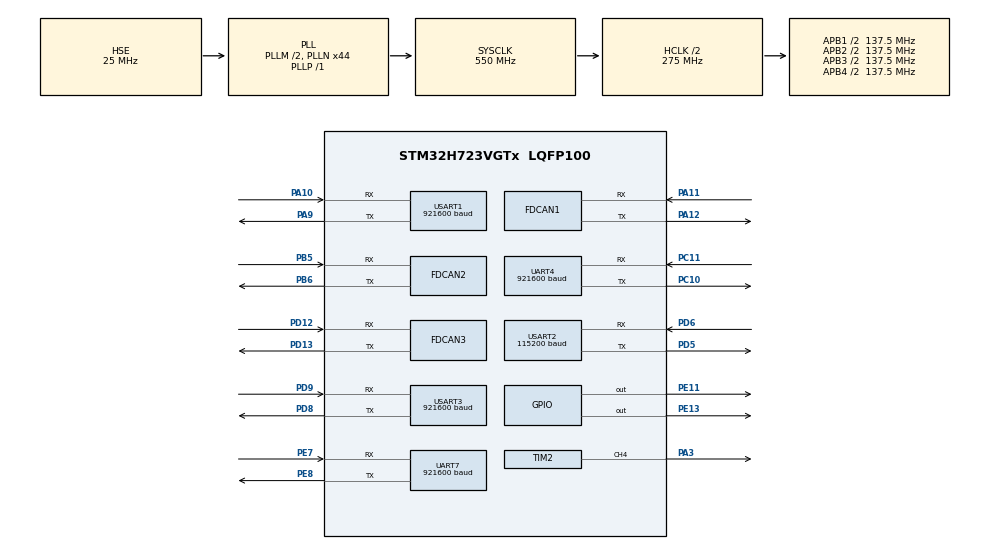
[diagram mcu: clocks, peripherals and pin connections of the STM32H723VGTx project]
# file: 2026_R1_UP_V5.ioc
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CORTEX_M7.default_mode_Activation=1
Dma.Request0=UART4_RX
Dma.Request1=UART4_TX
Dma.Request2=UART7_RX
Dma.Request3=UART7_TX
Dma.Request4=USART1_RX
Dma.Request5=USART1_TX
Dma.Request6=USART2_RX
Dma.Request7=USART2_TX
Dma.Request8=USART3_RX
Dma.Request9=USART3_TX
Dma.UART4_RX.0.Direction=DMA_PERIPH_TO_MEMORY
Dma.UART4_RX.0.EventEnable=DISABLE
Dma.UART4_RX.0.FIFOMode=DMA_FIFOMODE_DISABLE
Dma.UART4_RX.0.Instance=DMA1_Stream0
Dma.UART4_RX.0.MemDataAlignment=DMA_MDATAALIGN_BYTE
Dma.UART4_RX.0.MemInc=DMA_MINC_ENABLE
Dma.UART4_RX.0.Mode=DMA_NORMAL
Dma.UART4_RX.0.PeriphDataAlignment=DMA_PDATAALIGN_BYTE
Dma.UART4_RX.0.PeriphInc=DMA_PINC_DISABLE
Dma.UART4_RX.0.Polarity=HAL_DMAMUX_REQ_GEN_RISING
Dma.UART4_RX.0.Priority=DMA_PRIORITY_LOW
Dma.UART4_RX.0.RequestNumber=1
Dma.UART4_RX.0.SignalID=NONE
Dma.UART4_RX.0.SyncEnable=DISABLE
Dma.UART4_RX.0.SyncPolarity=HAL_DMAMUX_SYNC_NO_EVENT
Dma.UART4_RX.0.SyncRequestNumber=1
Dma.UART4_RX.0.SyncSignalID=NONE
Dma.UART4_TX.1.Direction=DMA_MEMORY_TO_PERIPH
Dma.UART4_TX.1.EventEnable=DISABLE
Dma.UART4_TX.1.FIFOMode=DMA_FIFOMODE_DISABLE
Dma.UART4_TX.1.Instance=DMA1_Stream1
Dma.UART4_TX.1.MemDataAlignment=DMA_MDATAALIGN_BYTE
Dma.UART4_TX.1.MemInc=DMA_MINC_ENABLE
Dma.UART4_TX.1.Mode=DMA_NORMAL
Dma.UART4_TX.1.PeriphDataAlignment=DMA_PDATAALIGN_BYTE
Dma.UART4_TX.1.PeriphInc=DMA_PINC_DISABLE
Dma.UART4_TX.1.Polarity=HAL_DMAMUX_REQ_GEN_RISING
Dma.UART4_TX.1.Priority=DMA_PRIORITY_LOW
Dma.UART4_TX.1.RequestNumber=1
Dma.UART4_TX.1.SignalID=NONE
Dma.UART4_TX.1.SyncEnable=DISABLE
Dma.UART4_TX.1.SyncPolarity=HAL_DMAMUX_SYNC_NO_EVENT
Dma.UART4_TX.1.SyncRequestNumber=1
Dma.UART4_TX.1.SyncSignalID=NONE
Dma.UART7_RX.2.Direction=DMA_PERIPH_TO_MEMORY
Dma.UART7_RX.2.EventEnable=DISABLE
Dma.UART7_RX.2.FIFOMode=DMA_FIFOMODE_DISABLE
Dma.UART7_RX.2.Instance=DMA1_Stream2
Dma.UART7_RX.2.MemDataAlignment=DMA_MDATAALIGN_BYTE
Dma.UART7_RX.2.MemInc=DMA_MINC_ENABLE
Dma.UART7_RX.2.Mode=DMA_NORMAL
Dma.UART7_RX.2.PeriphDataAlignment=DMA_PDATAALIGN_BYTE
Dma.UART7_RX.2.PeriphInc=DMA_PINC_DISABLE
Dma.UART7_RX.2.Polarity=HAL_DMAMUX_REQ_GEN_RISING
Dma.UART7_RX.2.Priority=DMA_PRIORITY_LOW
Dma.UART7_RX.2.RequestNumber=1
Dma.UART7_RX.2.SignalID=NONE
Dma.UART7_RX.2.SyncEnable=DISABLE
Dma.UART7_RX.2.SyncPolarity=HAL_DMAMUX_SYNC_NO_EVENT
Dma.UART7_RX.2.SyncRequestNumber=1
Dma.UART7_RX.2.SyncSignalID=NONE
Dma.UART7_TX.3.Direction=DMA_MEMORY_TO_PERIPH
Dma.UART7_TX.3.EventEnable=DISABLE
Dma.UART7_TX.3.FIFOMode=DMA_FIFOMODE_DISABLE
Dma.UART7_TX.3.Instance=DMA1_Stream3
Dma.UART7_TX.3.MemDataAlignment=DMA_MDATAALIGN_BYTE
Dma.UART7_TX.3.MemInc=DMA_MINC_ENABLE
Dma.UART7_TX.3.Mode=DMA_NORMAL
Dma.UART7_TX.3.PeriphDataAlignment=DMA_PDATAALIGN_BYTE
Dma.UART7_TX.3.PeriphInc=DMA_PINC_DISABLE
Dma.UART7_TX.3.Polarity=HAL_DMAMUX_REQ_GEN_RISING
Dma.UART7_TX.3.Priority=DMA_PRIORITY_LOW
Dma.UART7_TX.3.RequestNumber=1
Dma.UART7_TX.3.SignalID=NONE
Dma.UART7_TX.3.SyncEnable=DISABLE
Dma.UART7_TX.3.SyncPolarity=HAL_DMAMUX_SYNC_NO_EVENT
Dma.UART7_TX.3.SyncRequestNumber=1
Dma.UART7_TX.3.SyncSignalID=NONE
Dma.USART1_RX.4.Direction=DMA_PERIPH_TO_MEMORY
Dma.USART1_RX.4.EventEnable=DISABLE
Dma.USART1_RX.4.FIFOMode=DMA_FIFOMODE_DISABLE
Dma.USART1_RX.4.Instance=DMA1_Stream4
Dma.USART1_RX.4.MemDataAlignment=DMA_MDATAALIGN_BYTE
Dma.USART1_RX.4.MemInc=DMA_MINC_ENABLE
Dma.USART1_RX.4.Mode=DMA_NORMAL
Dma.USART1_RX.4.PeriphDataAlignment=DMA_PDATAALIGN_BYTE
Dma.USART1_RX.4.PeriphInc=DMA_PINC_DISABLE
Dma.USART1_RX.4.Polarity=HAL_DMAMUX_REQ_GEN_RISING
Dma.USART1_RX.4.Priority=DMA_PRIORITY_LOW
Dma.USART1_RX.4.RequestNumber=1
Dma.USART1_RX.4.SignalID=NONE
Dma.USART1_RX.4.SyncEnable=DISABLE
Dma.USART1_RX.4.SyncPolarity=HAL_DMAMUX_SYNC_NO_EVENT
Dma.USART1_RX.4.SyncRequestNumber=1
Dma.USART1_RX.4.SyncSignalID=NONE
Dma.USART1_TX.5.Direction=DMA_MEMORY_TO_PERIPH
Dma.USART1_TX.5.EventEnable=DISABLE
Dma.USART1_TX.5.FIFOMode=DMA_FIFOMODE_DISABLE
Dma.USART1_TX.5.Instance=DMA1_Stream5
Dma.USART1_TX.5.MemDataAlignment=DMA_MDATAALIGN_BYTE
Dma.USART1_TX.5.MemInc=DMA_MINC_ENABLE
Dma.USART1_TX.5.Mode=DMA_NORMAL
Dma.USART1_TX.5.PeriphDataAlignment=DMA_PDATAALIGN_BYTE
Dma.USART1_TX.5.PeriphInc=DMA_PINC_DISABLE
Dma.USART1_TX.5.Polarity=HAL_DMAMUX_REQ_GEN_RISING
Dma.USART1_TX.5.Priority=DMA_PRIORITY_LOW
Dma.USART1_TX.5.RequestNumber=1
Dma.USART1_TX.5.SignalID=NONE
Dma.USART1_TX.5.SyncEnable=DISABLE
Dma.USART1_TX.5.SyncPolarity=HAL_DMAMUX_SYNC_NO_EVENT
Dma.USART1_TX.5.SyncRequestNumber=1
Dma.USART1_TX.5.SyncSignalID=NONE
Dma.USART2_RX.6.Direction=DMA_PERIPH_TO_MEMORY
Dma.USART2_RX.6.EventEnable=DISABLE
Dma.USART2_RX.6.FIFOMode=DMA_FIFOMODE_DISABLE
Dma.USART2_RX.6.Instance=DMA1_Stream6
Dma.USART2_RX.6.MemDataAlignment=DMA_MDATAALIGN_BYTE
Dma.USART2_RX.6.MemInc=DMA_MINC_ENABLE
Dma.USART2_RX.6.Mode=DMA_NORMAL
Dma.USART2_RX.6.PeriphDataAlignment=DMA_PDATAALIGN_BYTE
Dma.USART2_RX.6.PeriphInc=DMA_PINC_DISABLE
Dma.USART2_RX.6.Polarity=HAL_DMAMUX_REQ_GEN_RISING
Dma.USART2_RX.6.Priority=DMA_PRIORITY_LOW
Dma.USART2_RX.6.RequestNumber=1
Dma.USART2_RX.6.SignalID=NONE
Dma.USART2_RX.6.SyncEnable=DISABLE
Dma.USART2_RX.6.SyncPolarity=HAL_DMAMUX_SYNC_NO_EVENT
Dma.USART2_RX.6.SyncRequestNumber=1
Dma.USART2_RX.6.SyncSignalID=NONE
Dma.USART2_TX.7.Direction=DMA_MEMORY_TO_PERIPH
Dma.USART2_TX.7.EventEnable=DISABLE
Dma.USART2_TX.7.FIFOMode=DMA_FIFOMODE_DISABLE
Dma.USART2_TX.7.Instance=DMA1_Stream7
Dma.USART2_TX.7.MemDataAlignment=DMA_MDATAALIGN_BYTE
Dma.USART2_TX.7.MemInc=DMA_MINC_ENABLE
Dma.USART2_TX.7.Mode=DMA_NORMAL
Dma.USART2_TX.7.PeriphDataAlignment=DMA_PDATAALIGN_BYTE
Dma.USART2_TX.7.PeriphInc=DMA_PINC_DISABLE
Dma.USART2_TX.7.Polarity=HAL_DMAMUX_REQ_GEN_RISING
Dma.USART2_TX.7.Priority=DMA_PRIORITY_LOW
Dma.USART2_TX.7.RequestNumber=1
Dma.USART2_TX.7.SignalID=NONE
Dma.USART2_TX.7.SyncEnable=DISABLE
Dma.USART2_TX.7.SyncPolarity=HAL_DMAMUX_SYNC_NO_EVENT
Dma.USART2_TX.7.SyncRequestNumber=1
Dma.USART2_TX.7.SyncSignalID=NONE
Dma.USART3_RX.8.Direction=DMA_PERIPH_TO_MEMORY
Dma.USART3_RX.8.EventEnable=DISABLE
Dma.USART3_RX.8.FIFOMode=DMA_FIFOMODE_DISABLE
Dma.USART3_RX.8.Instance=DMA2_Stream0
Dma.USART3_RX.8.MemDataAlignment=DMA_MDATAALIGN_BYTE
Dma.USART3_RX.8.MemInc=DMA_MINC_ENABLE
Dma.USART3_RX.8.Mode=DMA_NORMAL
Dma.USART3_RX.8.PeriphDataAlignment=DMA_PDATAALIGN_BYTE
Dma.USART3_RX.8.PeriphInc=DMA_PINC_DISABLE
Dma.USART3_RX.8.Polarity=HAL_DMAMUX_REQ_GEN_RISING
Dma.USART3_RX.8.Priority=DMA_PRIORITY_LOW
Dma.USART3_RX.8.RequestNumber=1
Dma.USART3_RX.8.SignalID=NONE
Dma.USART3_RX.8.SyncEnable=DISABLE
Dma.USART3_RX.8.SyncPolarity=HAL_DMAMUX_SYNC_NO_EVENT
Dma.USART3_RX.8.SyncRequestNumber=1
Dma.USART3_RX.8.SyncSignalID=NONE
Dma.USART3_TX.9.Direction=DMA_MEMORY_TO_PERIPH
Dma.USART3_TX.9.EventEnable=DISABLE
Dma.USART3_TX.9.FIFOMode=DMA_FIFOMODE_DISABLE
Dma.USART3_TX.9.Instance=DMA2_Stream1
Dma.USART3_TX.9.MemDataAlignment=DMA_MDATAALIGN_BYTE
Dma.USART3_TX.9.MemInc=DMA_MINC_ENABLE
Dma.USART3_TX.9.Mode=DMA_NORMAL
Dma.USART3_TX.9.PeriphDataAlignment=DMA_PDATAALIGN_BYTE
Dma.USART3_TX.9.PeriphInc=DMA_PINC_DISABLE
Dma.USART3_TX.9.Polarity=HAL_DMAMUX_REQ_GEN_RISING
Dma.USART3_TX.9.Priority=DMA_PRIORITY_LOW
Dma.USART3_TX.9.RequestNumber=1
Dma.USART3_TX.9.SignalID=NONE
Dma.USART3_TX.9.SyncEnable=DISABLE
Dma.USART3_TX.9.SyncPolarity=HAL_DMAMUX_SYNC_NO_EVENT
Dma.USART3_TX.9.SyncRequestNumber=1
Dma.USART3_TX.9.SyncSignalID=NONE
FDCAN1.AutoRetransmission=ENABLE
FDCAN1.CalculateBaudRateNominal=1000000
FDCAN1.CalculateTimeBitNominal=1000
FDCAN1.CalculateTimeQuantumNominal=40.0
FDCAN1.DataSyncJumpWidth=6
FDCAN1.DataTimeSeg1=18
FDCAN1.DataTimeSeg2=6
FDCAN1.Mode=FDCAN_MODE_NORMAL
FDCAN1.NominalPrescaler=1
FDCAN1.NominalSyncJumpWidth=6
FDCAN1.NominalTimeSeg1=18
FDCAN1.NominalTimeSeg2=6
FDCAN1.RxFifo0ElmtsNbr=4
FDCAN1.StdFiltersNbr=1
FDCAN1.TxBuffersNbr=16
FDCAN1.TxFifoQueueElmtsNbr=16
FDCAN2.AutoRetransmission=ENABLE
FDCAN2.CalculateBaudRateNominal=1000000
FDCAN2.CalculateTimeBitNominal=1000
FDCAN2.CalculateTimeQuantumNominal=40.0
FDCAN2.DataSyncJumpWidth=6
FDCAN2.DataTimeSeg1=18
FDCAN2.DataTimeSeg2=6
FDCAN2.MessageRAMOffset=800
FDCAN2.Mode=FDCAN_MODE_NORMAL
FDCAN2.NominalPrescaler=1
FDCAN2.NominalSyncJumpWidth=6
FDCAN2.NominalTimeSeg1=18
FDCAN2.NominalTimeSeg2=6
FDCAN2.RxFifo0ElmtsNbr=4
FDCAN2.StdFiltersNbr=1
FDCAN2.TxBuffersNbr=16
FDCAN2.TxFifoQueueElmtsNbr=16
FDCAN3.AutoRetransmission=ENABLE
FDCAN3.CalculateBaudRateNominal=1000000
FDCAN3.CalculateTimeBitNominal=1000
FDCAN3.CalculateTimeQuantumNominal=40.0
FDCAN3.DataSyncJumpWidth=6
FDCAN3.DataTimeSeg1=18
FDCAN3.DataTimeSeg2=6
FDCAN3.MessageRAMOffset=1600
FDCAN3.NominalPrescaler=1
FDCAN3.NominalSyncJumpWidth=6
FDCAN3.NominalTimeSeg1=18
FDCAN3.NominalTimeSeg2=6
FDCAN3.RxFifo0ElmtsNbr=4
FDCAN3.StdFiltersNbr=1
FDCAN3.TxBuffersNbr=16
FDCAN3.TxFifoQueueElmtsNbr=16
FREERTOS.Tasks01=UpAction,24,1024,up_action,Default,NULL,Dynamic,NULL,NULL;USART_TRANS,8,1024,usartTransmit,Default,NULL,Dynamic,NULL,NULL;CAN_TRANS1,8,512,canTrans1,Default,NULL,Dynamic,NULL,NULL;CAN_TRANS2,8,512,canTrans2,Default,NULL,Dynamic,NULL,NULL;ALGORITHM,8,1024,algorithm,Default,NULL,Dynamic,NULL,NULL;STATE_MACHINE,8,512,stateMachine,Default,NULL,Dynamic,NULL,NULL
FREERTOS.configTOTAL_HEAP_SIZE=23040
Mcu.Family=STM32H7
Mcu.Name=STM32H723VGTx
Mcu.Package=LQFP100
NVIC.DMA1_Stream0_IRQn=true\:5\:0\:false\:false\:true\:true\:false\:true\:true
NVIC.DMA1_Stream1_IRQn=true\:5\:0\:false\:false\:true\:true\:false\:true\:true
NVIC.DMA1_Stream2_IRQn=true\:5\:0\:false\:false\:true\:true\:false\:true\:true
NVIC.DMA1_Stream3_IRQn=true\:5\:0\:false\:false\:true\:true\:false\:true\:true
NVIC.DMA1_Stream4_IRQn=true\:5\:0\:false\:false\:true\:true\:false\:true\:true
NVIC.DMA1_Stream5_IRQn=true\:5\:0\:false\:false\:true\:true\:false\:true\:true
NVIC.DMA1_Stream6_IRQn=true\:5\:0\:false\:false\:true\:true\:false\:true\:true
NVIC.DMA1_Stream7_IRQn=true\:5\:0\:false\:false\:true\:true\:false\:true\:true
NVIC.DMA2_Stream0_IRQn=true\:5\:0\:false\:false\:true\:true\:false\:true\:true
NVIC.DMA2_Stream1_IRQn=true\:5\:0\:false\:false\:true\:true\:false\:true\:true
NVIC.FDCAN1_IT0_IRQn=true\:5\:0\:false\:false\:true\:true\:true\:true\:true
NVIC.FDCAN2_IT0_IRQn=true\:5\:0\:false\:false\:true\:true\:true\:true\:true
NVIC.FDCAN3_IT0_IRQn=true\:5\:0\:false\:false\:true\:true\:true\:true\:true
NVIC.PriorityGroup=NVIC_PRIORITYGROUP_4
NVIC.TIM6_DAC_IRQn=true\:15\:0\:false\:false\:true\:false\:false\:true\:true
NVIC.TIM7_IRQn=true\:5\:0\:false\:false\:true\:true\:true\:true\:true
NVIC.TimeBase=TIM6_DAC_IRQn
NVIC.TimeBaseIP=TIM6
NVIC.UART4_IRQn=true\:5\:0\:false\:false\:true\:true\:true\:true\:true
NVIC.UART7_IRQn=true\:5\:0\:false\:false\:true\:true\:true\:true\:true
NVIC.USART1_IRQn=true\:5\:0\:false\:false\:true\:true\:true\:true\:true
NVIC.USART2_IRQn=true\:5\:0\:false\:false\:true\:true\:false\:true\:true
NVIC.USART3_IRQn=true\:5\:0\:false\:false\:true\:true\:true\:true\:true
PA10.GPIO_PuPd=GPIO_PULLUP
PA10.Mode=Asynchronous
PA10.Signal=USART1_RX
PA11.Mode=FDCAN_Activate
PA11.Signal=FDCAN1_RX
PA12.Mode=FDCAN_Activate
PA12.Signal=FDCAN1_TX
PA13(JTMS/SWDIO).Mode=Serial_Wire
PA13(JTMS/SWDIO).Signal=DEBUG_JTMS-SWDIO
PA14(JTCK/SWCLK).Mode=Serial_Wire
PA14(JTCK/SWCLK).Signal=DEBUG_JTCK-SWCLK
PA3.GPIO_PuPd=GPIO_PULLUP
PA3.GPIO_Speed=GPIO_SPEED_FREQ_VERY_HIGH
PA3.Signal=S_TIM2_CH4
PA9.GPIO_PuPd=GPIO_PULLUP
PA9.Mode=Asynchronous
PA9.Signal=USART1_TX
PB5.Mode=FDCAN_Activate
PB5.Signal=FDCAN2_RX
PB6.Mode=FDCAN_Activate
PB6.Signal=FDCAN2_TX
PC10.Mode=Asynchronous
PC10.Signal=UART4_TX
PC11.Mode=Asynchronous
PC11.Signal=UART4_RX
PC6.Signal=USART6_TX
PC7.Signal=USART6_RX
PD12.Mode=FDCAN_Activate
PD12.Signal=FDCAN3_RX
PD13.Mode=FDCAN_Activate
PD13.Signal=FDCAN3_TX
PD5.Mode=Asynchronous
PD5.Signal=USART2_TX
PD6.Mode=Asynchronous
PD6.Signal=USART2_RX
PD8.GPIO_PuPd=GPIO_PULLUP
PD8.Mode=Asynchronous
PD8.Signal=USART3_TX
PD9.GPIO_PuPd=GPIO_PULLUP
PD9.Mode=Asynchronous
PD9.Signal=USART3_RX
PE11.Signal=GPIO_Output
PE13.Signal=GPIO_Output
PE7.GPIO_PuPd=GPIO_PULLUP
PE7.Mode=Asynchronous
PE7.Signal=UART7_RX
PE8.GPIO_PuPd=GPIO_PULLUP
PE8.Mode=Asynchronous
PE8.Signal=UART7_TX
PH0-OSC_IN.Mode=HSE-External-Oscillator
PH0-OSC_IN.Signal=RCC_OSC_IN
PH1-OSC_OUT.Mode=HSE-External-Oscillator
PH1-OSC_OUT.Signal=RCC_OSC_OUT
ProjectManager.HeapSize=0x200
ProjectManager.StackSize=0x400
ProjectManager.TargetToolchain=MDK-ARM V5.32
RCC.ADCFreq_Value=50390625
RCC.APB1Freq_Value=137500000
RCC.APB2Freq_Value=137500000
RCC.APB3Freq_Value=137500000
RCC.APB4Freq_Value=137500000
RCC.CortexFreq_Value=550000000
RCC.D1PPRE=RCC_APB3_DIV2
RCC.D2PPRE1=RCC_APB1_DIV2
RCC.D2PPRE2=RCC_APB2_DIV2
RCC.D3PPRE=RCC_APB4_DIV2
RCC.DIVM1=2
RCC.DIVN1=44
RCC.DIVP1=1
RCC.DIVQ1=4
RCC.FDCANCLockSelection=RCC_FDCANCLKSOURCE_HSE
RCC.HCLKFreq_Value=275000000
RCC.HPRE=RCC_HCLK_DIV2
RCC.PLLFRACN=0
RCC.PLLSourceVirtual=RCC_PLLSOURCE_HSE
RCC.SYSCLKFreq_VALUE=550000000
RCC.SYSCLKSource=RCC_SYSCLKSOURCE_PLLCLK
RCC.USBFreq_Value=137500000
SH.S_TIM2_CH4.0=TIM2_CH4,PWM Generation4 CH4
TIM1.AutoReloadPreload=TIM_AUTORELOAD_PRELOAD_ENABLE
TIM1.Period=199
TIM1.Prescaler=13749
TIM2.AutoReloadPreload=TIM_AUTORELOAD_PRELOAD_ENABLE
TIM2.Channel-PWM\ Generation4\ CH4=TIM_CHANNEL_4
TIM2.Period=199
TIM2.Prescaler=13749
TIM7.Period=13749
TIM7.Prescaler=9999
UART4.BaudRate=921600
UART7.BaudRate=921600
USART1.BaudRate=921600
USART1.VirtualMode-Asynchronous=VM_ASYNC
USART2.BaudRate=115200
USART2.VirtualMode-Asynchronous=VM_ASYNC
USART3.BaudRate=921600
USART3.VirtualMode-Asynchronous=VM_ASYNC
VP_FREERTOS_VS_CMSIS_V2.Mode=CMSIS_V2
VP_MEMORYMAP_VS_MEMORYMAP.Mode=CurAppReg
VP_SYS_VS_tim6.Mode=TIM6
VP_TIM1_VS_ClockSourceINT.Mode=Internal
VP_TIM2_VS_ClockSourceINT.Mode=Internal
VP_TIM7_VS_ClockSourceINT.Mode=Enable_Timer
board=custom

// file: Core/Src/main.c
/* USER CODE BEGIN Header */
/**
  ******************************************************************************
  * @file           : main.c
  * @brief          : Main program body
  ******************************************************************************
  * @attention
  *
  * Copyright (c) 2026 STMicroelectronics.
  * All rights reserved.
  *
  * This software is licensed under terms that can be found in the LICENSE file
  * in the root directory of this software component.
  * If no LICENSE file comes with this software, it is provided AS-IS.
  *
  ******************************************************************************
  */
/* USER CODE END Header */
#include "main.h"
#include "cmsis_os.h"
#include "dma.h"
#include "fdcan.h"
#include "memorymap.h"
#include "tim.h"
#include "usart.h"
#include "gpio.h"

/* USER CODE BEGIN Includes */
#include "CAN_Bsp.h"
#include "USART_Bsp.h"
#include "J60_motor.h"
#include "tjc_usart_hmi.h"
/* USER CODE END Includes */

void SystemClock_Config(void);
static void MPU_Config(void);
void MX_FREERTOS_Init(void);

/* USER CODE BEGIN 0 */
u8 zhu=0;
u8 board_rec[20]={0},remote_rec[11]={0},test_rec[9]={0};
void HAL_UART_RxCpltCallback(UART_HandleTypeDef *huart)
{
    if (huart->Instance == USART1) {
			size_t size = 24;
			for(uint8_t i = 0;i<size;i++){
				if(usart1_rxbuf[i] == 0x66&&usart1_rxbuf[(i+size-1)%size] == 0x99){
					memcpy(&vision_rec,&usart1_rxbuf[i],size - i);
					memcpy(&vision_rec[size-i],&usart1_rxbuf,i);

					break;
				}
			}
      unpackVisionData(vision_rec);
			HAL_UART_Receive_DMA(&huart1, usart1_rxbuf, 24);
			systemMonitor.cntMonitor.visionCommunicate++;
    }
		else if(huart->Instance == USART2){
			size_t size = 9;
			for(uint8_t i = 0;i<size;i++){
				if(IRModuleRxBuffer[i] == 0xAA&&IRModuleRxBuffer[(i+size-1)%size] == 0xAA){
					memcpy(&test_rec,&IRModuleRxBuffer[i],size - i);
					memcpy(&test_rec[size-i],&IRModuleRxBuffer,i);
					break;
				}
			}
			HAL_UART_Receive_DMA(&huart2,IRModuleRxBuffer,9);
		}
		else if(huart->Instance == USART3){
//			size_t size = 13;
//			for(uint8_t i = 0;i<size;i++){
//				if(usart2_rxbuf[i] == 0xAA&&usart2_rxbuf[(i+size-1)%size] == 0xAA){
//					memcpy(&remote_rec,&usart2_rxbuf[i],size - i);
//					memcpy(&remote_rec[size-i],&usart2_rxbuf,i);
//
//					break;
//				}
//			}
//			parseDataPacket(remote_rec+2,&remoteRec);
//			CalculateVelocities(&remoteRec,&remote_vel,800,1800,800,1800,1600,200);
//			DealKeyOfficial(remoteRec.usJsKey);
//				HAL_UART_Receive_IT(&huart3, usart2_rxbuf, 13);
//			if(usart2_rxbuf[0]==0xAA && usart2_rxbuf[1]==0x55 && usart2_rxbuf[11]==0x55 && usart2_rxbuf[12]==0xAA)
//			{
//				parseDataPacket(usart2_rxbuf+2,&remoteRec);
//				CalculateVelocities(&remoteRec,&remote_vel,800,1800,800,1800,1600,200);
//				DealKey(remoteRec.usJsKey);
//
//				return;
//			}
//			HAL_UART_Receive_IT(&huart3, usart2_rxbuf, 13);
			size_t size = 11;
			for(uint8_t i = 0;i<size;i++){
				if(usart2_rxbuf[i] == 0xAA&&usart2_rxbuf[(i+size-1)%size] == 0xBB){
					memcpy(&remote_rec,&usart2_rxbuf[i],size - i);
					memcpy(&remote_rec[size-i],&usart2_rxbuf,i);
					break;
				}
			}
			parseDataPacket(remote_rec+1,&remoteRec);
			CalculateVelocities(&remoteRec,&remote_vel,500,1750,500,1750,500,100);
			DealKeyTemp(remoteRec.usJsKey);
			HAL_UART_Receive_DMA(&huart3, usart2_rxbuf, 11);
			systemMonitor.cntMonitor.remoteControl++;
		}
		else if(huart->Instance == UART4)
		{
			size_t size = 18;
			for(uint8_t i = 0;i<size;i++){
				if(uart4_rxbuf[i] == 0x0b&&uart4_rxbuf[(i+size-1)%size] == 0x0a){
					memcpy(&board_rec,&uart4_rxbuf[i],size - i);
					memcpy(&board_rec[size-i],&uart4_rxbuf,i);

					break;
				}
			}
			unpackDataFromLower(board_rec);
			HAL_UART_Receive_DMA(&huart4, uart4_rxbuf, 18);
			systemMonitor.cntMonitor.withinBoardCommunicate++;
		}
}
void HAL_UART_ErrorCallback(UART_HandleTypeDef *huart)
{
    if (huart->Instance == USART1) {

        HAL_UART_DMAStop(huart);

        __HAL_UART_CLEAR_OREFLAG(huart);
        __HAL_UART_CLEAR_NEFLAG(huart);
        __HAL_UART_CLEAR_FEFLAG(huart);

        HAL_UART_Receive_DMA(&huart1, usart1_rxbuf, 24);
    }else if (huart->Instance == USART3) {

        HAL_UART_DMAStop(huart);

        __HAL_UART_CLEAR_OREFLAG(huart);
        __HAL_UART_CLEAR_NEFLAG(huart);
        __HAL_UART_CLEAR_FEFLAG(huart);

        	HAL_UART_Receive_DMA(&huart3, usart2_rxbuf, 11);
    }
		else if (huart->Instance == UART4) {

        HAL_UART_DMAStop(huart);

        __HAL_UART_CLEAR_OREFLAG(huart);
        __HAL_UART_CLEAR_NEFLAG(huart);
        __HAL_UART_CLEAR_FEFLAG(huart);

        	HAL_UART_Receive_DMA(&huart4, uart4_rxbuf, 20);
    }
}

/* USER CODE END 0 */

int main(void)
{

  /* MPU Configuration--------------------------------------------------------*/
  MPU_Config();

  /* MCU Configuration--------------------------------------------------------*/

  /* Reset of all peripherals, Initializes the Flash interface and the Systick. */
  HAL_Init();

  /* Configure the system clock */
  SystemClock_Config();

  /* Initialize all configured peripherals */
  MX_GPIO_Init();
  MX_DMA_Init();
  MX_FDCAN1_Init();
  MX_FDCAN2_Init();
  MX_FDCAN3_Init();
  MX_UART4_Init();
  MX_UART7_Init();
  MX_USART1_UART_Init();
  MX_USART2_UART_Init();
  MX_TIM1_Init();
  MX_USART3_UART_Init();
  MX_TIM2_Init();
  MX_TIM7_Init();
  /* USER CODE BEGIN 2 */

	HAL_UART_Receive_DMA(&huart4,uart4_rxbuf,18);
	HAL_UART_Receive_DMA(&huart1,usart1_rxbuf,24);
	HAL_UART_Receive_DMA(&huart2,IRModuleRxBuffer,9);
	HAL_UART_Receive_DMA(&huart3, usart2_rxbuf, 11);
	HAL_TIM_Base_Start_IT(&htim7);
	initRingBuffer();                //
//	HAL_UART_Receive_IT(&huart2,&zhu,1);

	CAN_INIT();
	Deep_Init(&gimbalJ60,&gimbalJ60CMD,&hfdcan1);
	Deep_Init(&shoulderJ60,&shoulderJ60CMD,&hfdcan2);
	Deep_Init(&elbowJ60,&elbowJ60CMD,&hfdcan2);

	HAL_Delay(700);
  /* USER CODE END 2 */

  /* Init scheduler */
  osKernelInitialize();

  /* Call init function for freertos objects (in cmsis_os2.c) */
  MX_FREERTOS_Init();

  /* Start scheduler */
  osKernelStart();

  /* We should never get here as control is now taken by the scheduler */

  /* Infinite loop */
  while (1)
  {

  }
}

void SystemClock_Config(void)
{
  RCC_OscInitTypeDef RCC_OscInitStruct = {0};
  RCC_ClkInitTypeDef RCC_ClkInitStruct = {0};

  /** Supply configuration update enable
  */
  HAL_PWREx_ConfigSupply(PWR_LDO_SUPPLY);

  /** Configure the main internal regulator output voltage
  */
  __HAL_PWR_VOLTAGESCALING_CONFIG(PWR_REGULATOR_VOLTAGE_SCALE0);

  while(!__HAL_PWR_GET_FLAG(PWR_FLAG_VOSRDY)) {}

  /** Initializes the RCC Oscillators according to the specified parameters
  * in the RCC_OscInitTypeDef structure.
  */
  RCC_OscInitStruct.OscillatorType = RCC_OSCILLATORTYPE_HSE;
  RCC_OscInitStruct.HSEState = RCC_HSE_ON;
  RCC_OscInitStruct.PLL.PLLState = RCC_PLL_ON;
  RCC_OscInitStruct.PLL.PLLSource = RCC_PLLSOURCE_HSE;
  RCC_OscInitStruct.PLL.PLLM = 2;
  RCC_OscInitStruct.PLL.PLLN = 44;
  RCC_OscInitStruct.PLL.PLLP = 1;
  RCC_OscInitStruct.PLL.PLLQ = 4;
  RCC_OscInitStruct.PLL.PLLR = 2;
  RCC_OscInitStruct.PLL.PLLRGE = RCC_PLL1VCIRANGE_3;
  RCC_OscInitStruct.PLL.PLLVCOSEL = RCC_PLL1VCOWIDE;
  RCC_OscInitStruct.PLL.PLLFRACN = 0;
  if (HAL_RCC_OscConfig(&RCC_OscInitStruct) != HAL_OK)
  {
    Error_Handler();
  }

  /** Initializes the CPU, AHB and APB buses clocks
  */
  RCC_ClkInitStruct.ClockType = RCC_CLOCKTYPE_HCLK|RCC_CLOCKTYPE_SYSCLK
                              |RCC_CLOCKTYPE_PCLK1|RCC_CLOCKTYPE_PCLK2
                              |RCC_CLOCKTYPE_D3PCLK1|RCC_CLOCKTYPE_D1PCLK1;
  RCC_ClkInitStruct.SYSCLKSource = RCC_SYSCLKSOURCE_PLLCLK;
  RCC_ClkInitStruct.SYSCLKDivider = RCC_SYSCLK_DIV1;
  RCC_ClkInitStruct.AHBCLKDivider = RCC_HCLK_DIV2;
  RCC_ClkInitStruct.APB3CLKDivider = RCC_APB3_DIV2;
  RCC_ClkInitStruct.APB1CLKDivider = RCC_APB1_DIV2;
  RCC_ClkInitStruct.APB2CLKDivider = RCC_APB2_DIV2;
  RCC_ClkInitStruct.APB4CLKDivider = RCC_APB4_DIV2;

  if (HAL_RCC_ClockConfig(&RCC_ClkInitStruct, FLASH_LATENCY_3) != HAL_OK)
  {
    Error_Handler();
  }
}

 /* MPU Configuration */

void MPU_Config(void)
{
  MPU_Region_InitTypeDef MPU_InitStruct = {0};

  /* Disables the MPU */
  HAL_MPU_Disable();

  /** Initializes and configures the Region and the memory to be protected
  */
  MPU_InitStruct.Enable = MPU_REGION_ENABLE;
  MPU_InitStruct.Number = MPU_REGION_NUMBER0;
  MPU_InitStruct.BaseAddress = 0x0;
  MPU_InitStruct.Size = MPU_REGION_SIZE_4GB;
  MPU_InitStruct.SubRegionDisable = 0x87;
  MPU_InitStruct.TypeExtField = MPU_TEX_LEVEL0;
  MPU_InitStruct.AccessPermission = MPU_REGION_NO_ACCESS;
  MPU_InitStruct.DisableExec = MPU_INSTRUCTION_ACCESS_DISABLE;
  MPU_InitStruct.IsShareable = MPU_ACCESS_SHAREABLE;
  MPU_InitStruct.IsCacheable = MPU_ACCESS_NOT_CACHEABLE;
  MPU_InitStruct.IsBufferable = MPU_ACCESS_NOT_BUFFERABLE;

  HAL_MPU_ConfigRegion(&MPU_InitStruct);
  /* Enables the MPU */
  HAL_MPU_Enable(MPU_PRIVILEGED_DEFAULT);

}

void HAL_TIM_PeriodElapsedCallback(TIM_HandleTypeDef *htim)
{
  if (htim->Instance == TIM6)
  {
    HAL_IncTick();
  }
  /* USER CODE BEGIN Callback 1 */
	// �ж��Ƿ���TIM7�������ж�
  if (htim->Instance == TIM7)
  {
			SINGLE_MONITOR temp={0};
    memcpy(&systemMonitor.fpsMonitor,&systemMonitor.cntMonitor,sizeof(SINGLE_MONITOR));
		memcpy(&systemMonitor.cntMonitor,&temp,sizeof(SINGLE_MONITOR));
		const u16* ptr = (u16*) &systemMonitor.fpsMonitor;
		for(u8 i =0;i<19;i++){
			systemMonitor.error[i]=(ptr[i]>100);
		}
  }
  /* USER CODE END Callback 1 */
}

void Error_Handler(void)
{
  __disable_irq();
  while (1)
  {
  }
}

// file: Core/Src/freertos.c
/* USER CODE BEGIN Header */
/**
  ******************************************************************************
  * File Name          : freertos.c
  * Description        : Code for freertos applications
  ******************************************************************************
  * @attention
  *
  * Copyright (c) 2026 STMicroelectronics.
  * All rights reserved.
  *
  * This software is licensed under terms that can be found in the LICENSE file
  * in the root directory of this software component.
  * If no LICENSE file comes with this software, it is provided AS-IS.
  *
  ******************************************************************************
  */
/* USER CODE END Header */

#include "FreeRTOS.h"
#include "task.h"
#include "main.h"
#include "cmsis_os.h"

/* USER CODE BEGIN Includes */
#include "Robot.h"
#include "CAN_Bsp.h"
#include "USART_Bsp.h"
#include "J60_motor.h"
#include "DJI_motor.h"
#include "MathAlgorithm.h"
#include "usart.h"
#include "StateMachine.h"
#include "UpAction.h"
#include "GravityCompensation.h"
#include "tim.h"
#include "stm32h723xx.h"
#include "tjc_usart_hmi.h"
/* USER CODE END Includes */

/* USER CODE BEGIN PD */
#define TJC 1
//#define IRM 1
/* USER CODE END PD */

/* Definitions for UpAction */
osThreadId_t UpActionHandle;
const osThreadAttr_t UpAction_attributes = {
  .name = "UpAction",
  .stack_size = 1024 * 4,
  .priority = (osPriority_t) osPriorityNormal,
};
/* Definitions for USART_TRANS */
osThreadId_t USART_TRANSHandle;
const osThreadAttr_t USART_TRANS_attributes = {
  .name = "USART_TRANS",
  .stack_size = 1024 * 4,
  .priority = (osPriority_t) osPriorityLow,
};
/* Definitions for CAN_TRANS1 */
osThreadId_t CAN_TRANS1Handle;
const osThreadAttr_t CAN_TRANS1_attributes = {
  .name = "CAN_TRANS1",
  .stack_size = 512 * 4,
  .priority = (osPriority_t) osPriorityLow,
};
/* Definitions for CAN_TRANS2 */
osThreadId_t CAN_TRANS2Handle;
const osThreadAttr_t CAN_TRANS2_attributes = {
  .name = "CAN_TRANS2",
  .stack_size = 512 * 4,
  .priority = (osPriority_t) osPriorityLow,
};
/* Definitions for ALGORITHM */
osThreadId_t ALGORITHMHandle;
const osThreadAttr_t ALGORITHM_attributes = {
  .name = "ALGORITHM",
  .stack_size = 1024 * 4,
  .priority = (osPriority_t) osPriorityLow,
};
/* Definitions for STATE_MACHINE */
osThreadId_t STATE_MACHINEHandle;
const osThreadAttr_t STATE_MACHINE_attributes = {
  .name = "STATE_MACHINE",
  .stack_size = 512 * 4,
  .priority = (osPriority_t) osPriorityLow,
};

void up_action(void *argument);
void usartTransmit(void *argument);
void canTrans1(void *argument);
void canTrans2(void *argument);
void algorithm(void *argument);
void stateMachine(void *argument);

void MX_FREERTOS_Init(void); /* (MISRA C 2004 rule 8.1) */

void MX_FREERTOS_Init(void) {

  /* Create the thread(s) */
  /* creation of UpAction */
  UpActionHandle = osThreadNew(up_action, NULL, &UpAction_attributes);

  /* creation of USART_TRANS */
  USART_TRANSHandle = osThreadNew(usartTransmit, NULL, &USART_TRANS_attributes);

  /* creation of CAN_TRANS1 */
  CAN_TRANS1Handle = osThreadNew(canTrans1, NULL, &CAN_TRANS1_attributes);

  /* creation of CAN_TRANS2 */
  CAN_TRANS2Handle = osThreadNew(canTrans2, NULL, &CAN_TRANS2_attributes);

  /* creation of ALGORITHM */
  ALGORITHMHandle = osThreadNew(algorithm, NULL, &ALGORITHM_attributes);

  /* creation of STATE_MACHINE */
  STATE_MACHINEHandle = osThreadNew(stateMachine, NULL, &STATE_MACHINE_attributes);

}

void up_action(void *argument)
{
  /* USER CODE BEGIN up_action */
	get_KFS_height=3;
  /* Infinite loop */
  for(;;)
  {
		UpAction_weapon();
		UpAction_KFS();
		UpAction_platform();
		systemMonitor.cntMonitor.UpActionTask++;
    osDelay(1);
  }
  /* USER CODE END up_action */
}

/* USER CODE BEGIN Header_usartTransmit */
u8 uart4_txCplt=1,usart1_txCplt=1,usart3_txCplt=1;
u16 tjc_cnt=0;
void HAL_UART_TxCpltCallback(UART_HandleTypeDef *huart)
{
		if(huart->Instance== UART4){
				uart4_txCplt=1;
		}
    if (huart->Instance == USART1)
    {
        usart1_txCplt = 1;
    }
		if(huart->Instance == USART3){
				usart3_txCplt=1;
		}
}
/**
* @brief Function implementing the USART_TRANS thread.
* @param argument: Not used
* @retval None
*/
u8 buffer[9]={0};
/* USER CODE END Header_usartTransmit */
void usartTransmit(void *argument)
{
  /* USER CODE BEGIN usartTransmit */
	u8 ack[32]={0};
  /* Infinite loop */
  for(;;)
  {
		packDataToLower(uart4_txbuf);
		if(uart4_txCplt){
			HAL_UART_Transmit_DMA(&huart4,uart4_txbuf,23);
			uart4_txCplt=0;
		}
//		packVisionData(usart1_txbuf);
//		if(usart1_txCplt){
//			HAL_UART_Transmit_DMA(&huart1,usart1_txbuf,3);
//			usart1_txCplt=0;
//		}
		packRemoteData(usart2_txbuf);
		memcpy(ack,usart2_txbuf,20*sizeof(uint8_t));
		if(usart3_txCplt){
			HAL_UART_Transmit_DMA(&huart3,usart2_txbuf,24);
			usart3_txCplt=0;
		}
		tjc_cnt++;
#ifdef TJC
		if(tjc_cnt==100){
			My_Send_LED(QD_show_1);
			tjc_cnt=0;
		}
#endif
#ifdef IRM
		if(tjc_cnt>250){
			tjc_cnt=0;
			packDataToIRModule(buffer);
			HAL_UART_Transmit_DMA(&huart2,buffer,9);
		}
#endif
		systemMonitor.cntMonitor.UsartCommunicateTask++;
    osDelay(1);
  }
  /* USER CODE END usartTransmit */
}

void canTrans1(void *argument)
{
  /* USER CODE BEGIN canTrans1 */

	gimbalJ60CMD.cmd_=4;
	gimbalJ60CMD.kp_=320;
 	gimbalJ60CMD.kd_=10;
	gimbalJ60CMD.position_=0.07f;
	gimbalJ60CMD.motor_id_=0x01;
	gimbalJ60CMD.torque_ =0;

  /* Infinite loop */
  for(;;)
  {
		SetMotionCMD(&gimbalJ60CMD,gimbalJ60.motor_id_,4,gimbalJ60CMD.position_,gimbalJ60CMD.velocity_,gimbalJ60CMD.torque_,gimbalJ60CMD.kp_,gimbalJ60CMD.kd_);
		CAN_Send_DeepMsg(&gimbalJ60CMD,&hfdcan1);
		CAN_Sendcurrent(&hfdcan1,0x200,move2006.motor_pid.inner.fpU,weapon_wrist_torque+claw3508.motor_pid.inner.fpU,friction3508.motor_pid.inner.fpU,wrist_torque+wrist3508.motor_pid.inner.fpU);

		CAN_SendStdData(&hfdcan3,0x300,airOperator.airOperatorTx,3);

		systemMonitor.cntMonitor.CAN_Trans1Task++;
    osDelay(1);
  }
  /* USER CODE END canTrans1 */
}

void canTrans2(void *argument)
{
  /* USER CODE BEGIN canTrans2 */

	shoulderJ60CMD.cmd_=4;
	shoulderJ60CMD.kp_=140;
	shoulderJ60CMD.kd_=10;
	shoulderJ60CMD.position_=-0.1f;
	shoulderJ60CMD.motor_id_=0x01;
	shoulderJ60CMD.torque_ =0;

	elbowJ60CMD.cmd_=4;
	elbowJ60CMD.kp_=140;
	elbowJ60CMD.kd_=10;
	elbowJ60CMD.position_=-0.1f;
	elbowJ60CMD.motor_id_=0x02;
	elbowJ60CMD.torque_ =0;
  /* Infinite loop */
  for(;;)
  {
		SetMotionCMD(&shoulderJ60CMD,shoulderJ60.motor_id_,4,shoulderJ60CMD.position_,shoulderJ60CMD.velocity_,shoulder_torque,shoulderJ60CMD.kp_,shoulderJ60CMD.kd_);
		CAN_Send_DeepMsg(&shoulderJ60CMD,&hfdcan2);
		SetMotionCMD(&elbowJ60CMD,elbowJ60.motor_id_,4,elbowJ60CMD.position_,elbowJ60CMD.velocity_,elbow_torque,elbowJ60CMD.kp_,elbowJ60CMD.kd_);
		CAN_Send_DeepMsg(&elbowJ60CMD,&hfdcan2);
		CAN_Sendcurrent(&hfdcan2,0x200,platform_L2006.motor_pid.inner.fpU,platform_R2006.motor_pid.inner.fpU,0,0);
		systemMonitor.cntMonitor.CAN_Trans2Task++;
    osDelay(1);
  }
  /* USER CODE END canTrans2 */
}

void algorithm(void *argument)
{
  /* USER CODE BEGIN algorithm */
	DJIMotorStart();
  /* Infinite loop */
  for(;;)
  {
		if(move2006_mode==0){
				DJIMotorControl(&move2006);
		}else{
				move2006_align=DJIMotorControlByVision(&move2006);
		}
		if(claw_mode){
			claw3508.outerTarget+=(claw3508.angle<=150.f)*(remoteRec.usJsRight_Y>3000)*((float)(remoteRec.usJsRight_Y-3000))/4000.f+(claw3508.angle>=40.f)*(remoteRec.usJsRight_Y<1000)*((float)(remoteRec.usJsRight_Y-1000))/4000.f;
		}
		DJIMotorControl(&claw3508);

		DJIMotorControl(&wrist3508);

		DJIVelControl(&platform_L2006);
		DJIVelControl(&platform_R2006);
		GravityCompensation_weaponPlayer(weapon_compensation_mode);
		GravityCompensation_KFSMaster(KFS_compensation_mode);

		bin_array_to_u8(airOperator.airOperatorTxBuf,airOperator.airOperatorTx);
		systemMonitor.cntMonitor.AlgorithmTask++;
    osDelay(1);
  }
  /* USER CODE END algorithm */
}

/* USER CODE BEGIN Header_stateMachine */
void delayTime(u8 *flag){
	switch(*flag){
		case 1:
			delay_timer++;
			if(delay_timer>300){
				QD_show_1=13;//二维码：递块成功
				delay_timer=0;
				*flag=0;
			}
			break;
		case 5:
			delay_timer++;
			if(delay_timer>100&&KFS_cplt){
				delay_timer=0;
				store_KFS_orientation=!store_KFS_orientation;
				*flag=0;
			}
			break;
		case 6:
			delay_timer++;
			if(delay_timer>1200){
				switch(nav_target){
					case PUSH_PLATFORM_FOR_SECOND_COLUMN_R2:
						nav_target=COMBINE_WITH_SECOND_COLUMN_R2;
						chassis_action=3;
						break;
					case PUSH_PLATFORM_FOR_FIRST_COLUMN_R2:
						nav_target=COMBINE_WITH_FIRST_COLUMN_R2;
						chassis_action=3;
						break;
					case MIRRORED_PUSH_PLATFORM_FOR_THIRD_COLUMN_R2:
						nav_target=MIRRORED_PUSH_PLATFORM_FOR_THIRD_COLUMN_R2;
						chassis_action=3;
						break;
					case MIRRORED_PUSH_PLATFORM_FOR_SECOND_COLUMN_R2:
						nav_target=MIRRORED_PUSH_PLATFORM_FOR_SECOND_COLUMN_R2;
						chassis_action=3;
						break;
					default:
						break;
				}
				delay_timer=0;
				*flag=0;
			}
			break;
		default:
			break;
	}
}
/**
* @brief Function implementing the STATE_MACHINE thread.
* @param argument: Not used
* @retval None
*/
/* USER CODE END Header_stateMachine */
void stateMachine(void *argument)
{
  /* USER CODE BEGIN stateMachine */
  /* Infinite loop */
  for(;;)
  {
		delayTime(&delay_timer_flag);
		StateMachine();
		systemMonitor.cntMonitor.StateMachineTask++;
    osDelay(1);
  }
  /* USER CODE END stateMachine */
}
